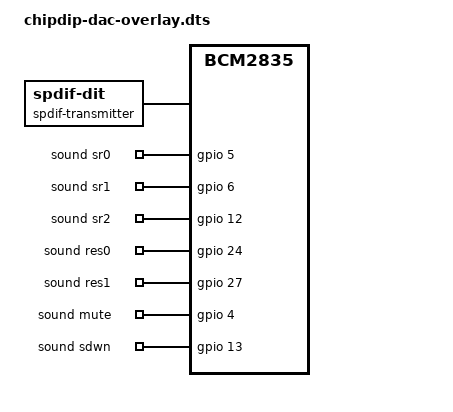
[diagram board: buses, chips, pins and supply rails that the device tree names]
/*
 * Device Tree overlay for ChipDip DAC
 */

/dts-v1/;
/plugin/;

/ {
	compatible = "brcm,bcm2835";

	fragment@0 {
		target = <&i2s_clk_consumer>;
		__overlay__ {
			status = "okay";
		};
	};

	fragment@1 {
		target-path = "/";
		__overlay__ {
			spdif-transmitter {
				#address-cells = <0>;
				#size-cells = <0>;
				#sound-dai-cells = <0>;
				compatible = "linux,spdif-dit";
				status = "okay";
			};
		};
	};

	fragment@2 {
		target = <&sound>;
		__overlay__ {
			compatible = "chipdip,chipdip-dac";
			i2s-controller = <&i2s_clk_consumer>;
			sr0-gpios = <&gpio 5 0>;
			sr1-gpios = <&gpio 6 0>;
			sr2-gpios = <&gpio 12 0>;
			res0-gpios = <&gpio 24 0>;
			res1-gpios = <&gpio 27 0>;
			mute-gpios = <&gpio 4 0>;
			sdwn-gpios = <&gpio 13 0>;
			status = "okay";
		};
	};
};
